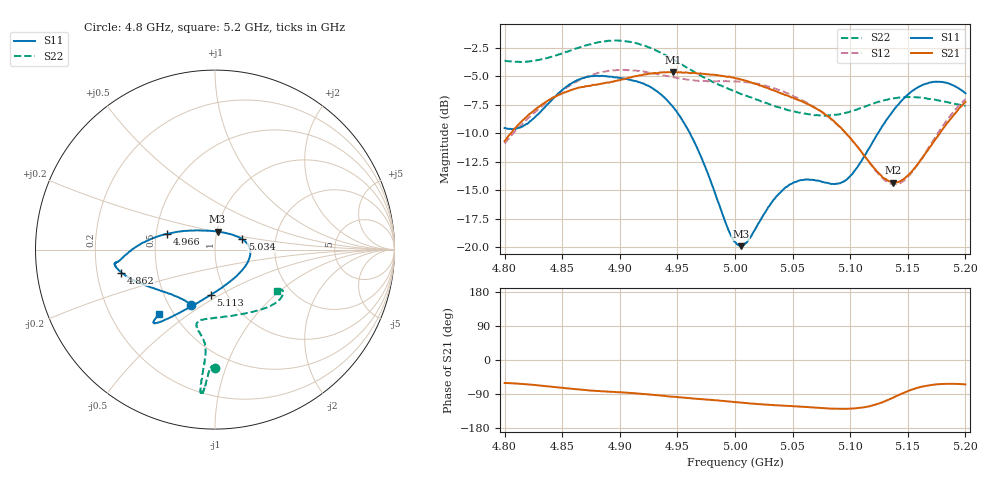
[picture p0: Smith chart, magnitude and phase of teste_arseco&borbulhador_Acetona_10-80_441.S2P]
! Network Analyzer HP8722D
! Hewlett-Packard
! Data name: Linha & Wilkinson
! Saver's name: Rodrigo Anjos
! Comments: Teste da utilização de aquisição
! continua pelo VNA HP8722D
! Time and date: 17/4/2025 18:02
!  Frequency  S11  S21  S12  S22
# HZ  S  MA R 50
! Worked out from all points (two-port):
!   401 points, 4.8 GHz to 5.2 GHz, reference 50 ohm
!   highest |S21| = -4.63 dB at 4.946 GHz (marker M1); lowest = -14.3 dB at 5.137 GHz (marker M2)
!   |S21| within 3 dB of the highest: 4.83 GHz to 5.067 GHz (236.5 MHz wide, 4.78 % of centre); 5.196423 GHz to end of sweep
!   lowest |S11| = -19.9 dB at 5.005 GHz (marker M3), VSWR 1.22, Z = 50.4 + j10.2 ohm
!   |S11| at or under -10 dB: 4.961 GHz to 5.124 GHz (163.2 MHz wide, 3.24 % of centre)
!   |S22| runs from -8.5 to -1.9 dB; largest |S21 - S12| = 0.88
!   S11 on the Smith chart (normalised r, x): 4.8 GHz: 0.65, -0.44; 4.862 GHz: 0.31, -0.11; 4.966 GHz: 0.57, +0.11; 5.034 GHz: 1.35, +0.16; 5.113 GHz: 0.84, -0.45; 5.2 GHz: 0.42, -0.39
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4.8e9  0.3333 -113.4  0.2919 -60.8  0.285 -175.0  0.658 -90.0
4.819e9  0.347 -133.5  0.3729 -64.0  0.3615 -173.6  0.6524 -91.6
4.862e9  0.5371 -166.2  0.4969 -77.0  0.5304 -176.9  0.7443 -93.9
4.867e9  0.55 -168.1  0.5043 -78.7  0.5475 -178.0  0.759 -94.1
4.899e9  0.5532 -172.7  0.54 -85.2  0.5986 175.5  0.8058 -95.4
4.934e9  0.4757 -178.8  0.5826 -93.4  0.5735 171.9  0.7181 -95.8
4.946e9  0.4132 175.6  0.5865 -96.9  0.5571 172.2  0.6652 -95.7
4.966e9  0.2803 161.7  0.5795 -102.0  0.5369 173.8  0.5812 -95.2
5e9  0.1053 99.7  0.5516 -111.1  0.534 176.2  0.481 -99.2
5.005e9  0.101 82.0  0.5438 -112.6  0.5309 176.2  0.4697 -100.4
5.012e9  0.1082 60.4  0.5323 -114.4  0.5284 176.0  0.4564 -101.9
5.034e9  0.1623 21.2  0.4862 -119.2  0.498 174.8  0.4172 -103.6
5.049e9  0.1894 5.8  0.453 -121.6  0.4648 174.2  0.3968 -100.1
5.067e9  0.1975 -13.5  0.415 -125.0  0.4171 173.6  0.38 -90.8
5.093e9  0.1925 -58.1  0.3295 -128.8  0.3275 174.1  0.3854 -70.5
5.113e9  0.2542 -95.4  0.2491 -124.2  0.2486 -179.8  0.4146 -54.9
5.134e9  0.3764 -116.7  0.1944 -103.9  0.1911 -156.8  0.4468 -43.0
5.137e9  0.3946 -118.6  0.192 -99.8  0.1893 -152.0  0.4493 -41.6
5.15e9  0.4668 -124.4  0.2058 -82.3  0.2029 -131.9  0.4551 -36.7
5.17e9  0.5286 -129.2  0.2783 -66.2  0.2837 -112.3  0.4468 -32.0
5.184e9  0.5254 -130.5  0.3495 -62.9  0.3615 -107.2  0.4328 -31.0
5.2e9  0.4732 -131.0  0.434 -64.4  0.4461 -106.5  0.416 -33.4
